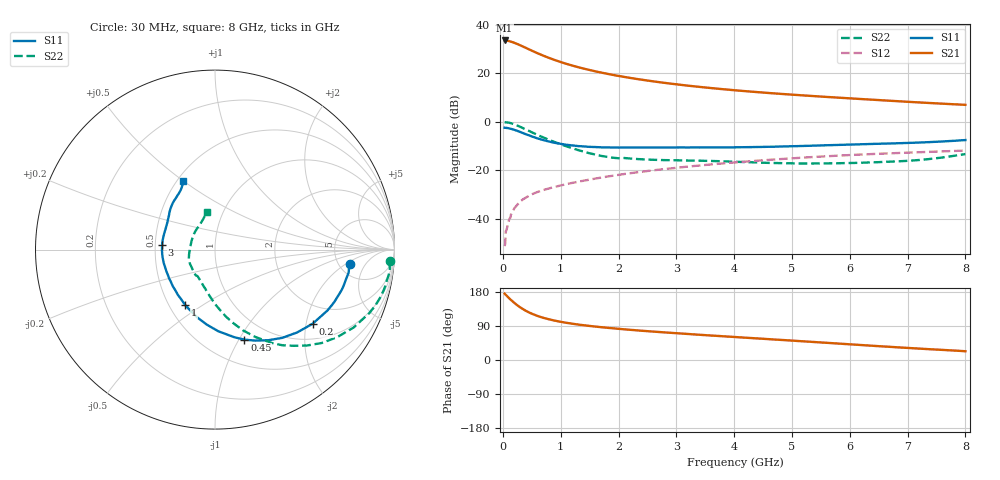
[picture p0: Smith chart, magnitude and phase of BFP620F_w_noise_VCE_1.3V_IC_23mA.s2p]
! Infineon Technologies  Discrete & RF Semiconductors
! BFP620F
! VCE =  1.3 V,  IC =  23 mA
! Common Emitter S-Parameters:  Dec 2014
# GHz  S  MA  R  50
!  f  S11  S21  S12  S22
! GHz  MAG  ANG  MAG  ANG  MAG  ANG  MAG  ANG
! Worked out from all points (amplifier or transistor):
!   95 points, 30 MHz to 8 GHz, reference 50 ohm
!   highest |S21| = 33.6 dB at 30 MHz (marker M1)
!   |S21| within 3 dB of that: start of sweep to 391.9 MHz
!   unconditionally stable (mu >= 1): 2.807 GHz to end of sweep
!   at 300 MHz: K = 0.32, MSG = 32.3 dB, |S12| = -32.9 dB
!   at 3.3 GHz: K = 1.01, MAG = 15.7 dB, |S12| = -18.3 dB
!   at 8 GHz: K = 1.06, MAG = 7.9 dB, |S12| = -11.9 dB
!   lowest NFmin = 0.94 dB at 450 MHz
!   S11 on the Smith chart (normalised r, x): 30 MHz: 6.37, -2.33; 200 MHz: 1.41, -2.18; 450 MHz: 0.76, -1.06; 1 GHz: 0.60, -0.43; 3 GHz: 0.54, +0.03; 8 GHz: 0.54, +0.50
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0.03  0.7574 -5.9  48.09 175.2  0.0027 90.2  0.9774 -3.8
0.07  0.7468 -13.7  47.67 168.9  0.0063 83.9  0.972 -10.2
0.12  0.727 -23.2  46.09 161.2  0.0102 80.6  0.9504 -18.1
0.15  0.7119 -28.6  45.08 157.1  0.0128 76.2  0.9294 -22.4
0.2  0.683 -37.2  42.89 150.5  0.0165 74.9  0.8862 -29.3
0.25  0.6502 -45.2  40.61 144.3  0.0194 71.1  0.8385 -35.5
0.3  0.6182 -52.7  38.28 138.9  0.0226 68.1  0.7901 -41.2
0.4  0.5536 -66.3  33.7 129.6  0.0273 65.5  0.6927 -50.7
0.45  0.5277 -71.9  31.57 125.7  0.0296 63.7  0.6514 -54.9
0.5  0.5002 -77.5  29.62 122.2  0.0319 62.6  0.6098 -58.6
0.6  0.4553 -87.7  26.17 116.2  0.0356 61.4  0.5364 -65.2
0.7  0.4198 -96.4  23.31 111.3  0.039 60.4  0.476 -70.9
0.8  0.3917 -104.3  20.89 107.3  0.0422 59.8  0.4244 -75.8
1  0.3514 -118.0  17.23 100.8  0.0485 59.5  0.3447 -84.4
1.4  0.3109 -139.4  12.6 91.7  0.061 59.4  0.2419 -100.2
2  0.2945 -162.0  8.899 82.3  0.0803 58.7  0.1768 -123.8
2.7  0.2955 -179.3  6.619 73.9  0.1028 55.9  0.1631 -143.4
3  0.2958 174.7  5.972 70.7  0.1123 54.7  0.1609 -149.5
4.1  0.2988 156.9  4.406 59.8  0.1479 49.0  0.1487 -166.8
5.4  0.3232 142.2  3.393 47.3  0.1888 40.6  0.1381 165.8
6.7  0.3577 128.5  2.728 34.7  0.2239 31.1  0.1506 135.6
8  0.421 114.8  2.247 23.1  0.2548 21.9  0.2161 102.1
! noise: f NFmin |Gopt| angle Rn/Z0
0.45  0.94  0.04  2  0.2
0.9  0.98  0.02  6  0.17
1.5  1  0.01  -9  0.15
1.8  1.02  0.01  -17  0.16
1.9  1.02  0  51  0.16
2.4  1.05  0.03  -153  0.15
3.5  1.13  0.06  -161  0.15
5.5  1.28  0.17  234  0.11
6  1.32  0.16  256  0.14
